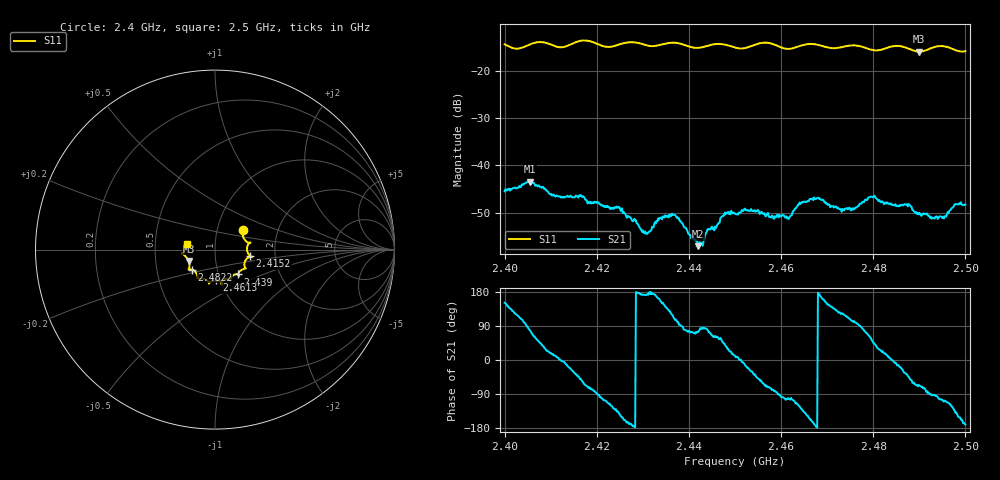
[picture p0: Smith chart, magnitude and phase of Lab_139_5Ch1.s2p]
# Hz S RI R 50
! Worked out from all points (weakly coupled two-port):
!   601 points, 2.4 GHz to 2.5 GHz, reference 50 ohm
!   highest |S21| = -43.43 dB at 2.4055 GHz (marker M1); lowest = -57.1 dB at 2.442 GHz (marker M2)
!   lowest |S11| = -15.9 dB at 2.49 GHz (marker M3), VSWR 1.38, Z = 36.9 - j4.82 ohm
!   |S11| at or under -10 dB: start of sweep to end of sweep
!   S12 and S22 are empty: the file has one direction only
!   S11 on the Smith chart (normalised r, x): 2.4 GHz: 1.33, +0.31; 2.4152 GHz: 1.48, -0.11; 2.439 GHz: 1.24, -0.36; 2.4613 GHz: 0.96, -0.34; 2.4822 GHz: 0.76, -0.17; 2.5 GHz: 0.73, +0.05
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2.4e9  0.1556 0.1112  -0.00464 0.00257  0 0  0 0
2.4055e9  0.1872 0.0385  0.00141 0.00659  0 0  0 0
2.415167e9  0.1956 -0.0363  0.0038 -0.00256  0 0  0 0
2.416667e9  0.205 -0.0423  0.00283 -0.00373  0 0  0 0
2.425e9  0.1658 -0.0964  -0.00284 -0.00213  0 0  0 0
2.430667e9  0.1508 -0.1117  -0.00187 0.000291  0 0  0 0
2.433333e9  0.1316 -0.1323  -0.00262 0.000809  0 0  0 0
2.4365e9  0.1348 -0.1467  -0.00137 0.00268  0 0  0 0
2.439e9  0.1279 -0.1384  0.000382 0.00217  0 0  0 0
2.442e9  0.0985 -0.1454  0.000384 0.00134  0 0  0 0
2.447667e9  0.0849 -0.1704  0.00213 0.00205  0 0  0 0
2.45e9  0.0692 -0.1632  0.00301 0.000609  0 0  0 0
2.456667e9  0.0397 -0.1954  0.00114 -0.00264  0 0  0 0
2.461333e9  0.00752 -0.1712  -0.000618 -0.00266  0 0  0 0
2.466667e9  -0.0336 -0.1903  -0.00418 -0.00139  0 0  0 0
2.473167e9  -0.079 -0.1605  -0.00174 0.00271  0 0  0 0
2.479833e9  -0.1057 -0.1286  0.00295 0.00356  0 0  0 0
2.482167e9  -0.1282 -0.1117  0.00379 0.00141  0 0  0 0
2.483333e9  -0.1394 -0.1102  0.00386 0.000634  0 0  0 0
2.49e9  -0.1468 -0.0636  0.0012 -0.0029  0 0  0 0
2.495333e9  -0.1813 -0.0201  -0.000941 -0.00257  0 0  0 0
2.5e9  -0.1582 0.0337  -0.00379 -0.000629  0 0  0 0
